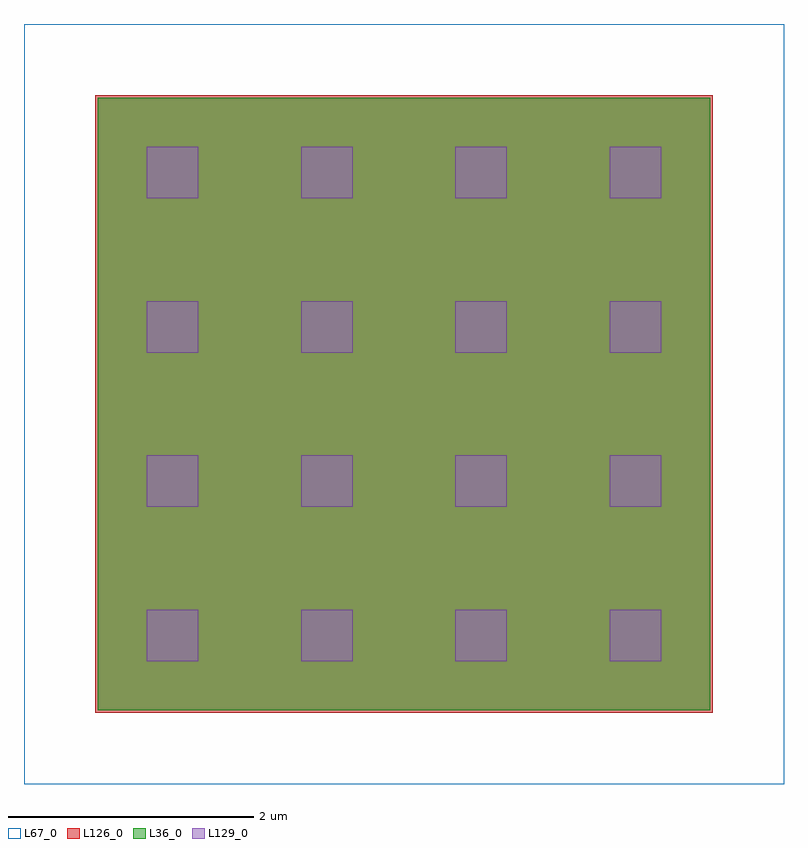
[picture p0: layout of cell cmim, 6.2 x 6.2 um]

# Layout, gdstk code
import gdstk
lib = gdstk.Library(unit=1e-6, precision=1e-09)
def R(c, l, rs):  # rectangles x0, y0, x1, y1
    for r in rs: c.add(gdstk.rectangle(r[:2], r[2:], *l))
def A(c, l, x, y, w, h, nx, ny, dx, dy):  # array of equal rectangles
    R(c, l, [(x+i*dx, y+j*dy, x+i*dx+w, y+j*dy+h) for i in range(nx) for j in range(ny)])
L36_0 = (36, 0)
L67_0 = (67, 0)
L126_0 = (126, 0)
L129_0 = (129, 0)

cmim = lib.new_cell('cmim')
R(cmim, L36_0, [(0,0,5,5)])
R(cmim, L67_0, [(-0.6,-0.6,5.6,5.6)])
R(cmim, L126_0, [(-0.02,-0.02,5.02,5.02)])
A(cmim, L129_0, 0.4, 0.4, 0.42, 0.42, 4, 4, 1.26, 1.26)

lib.write_gds('cmim.gds')
